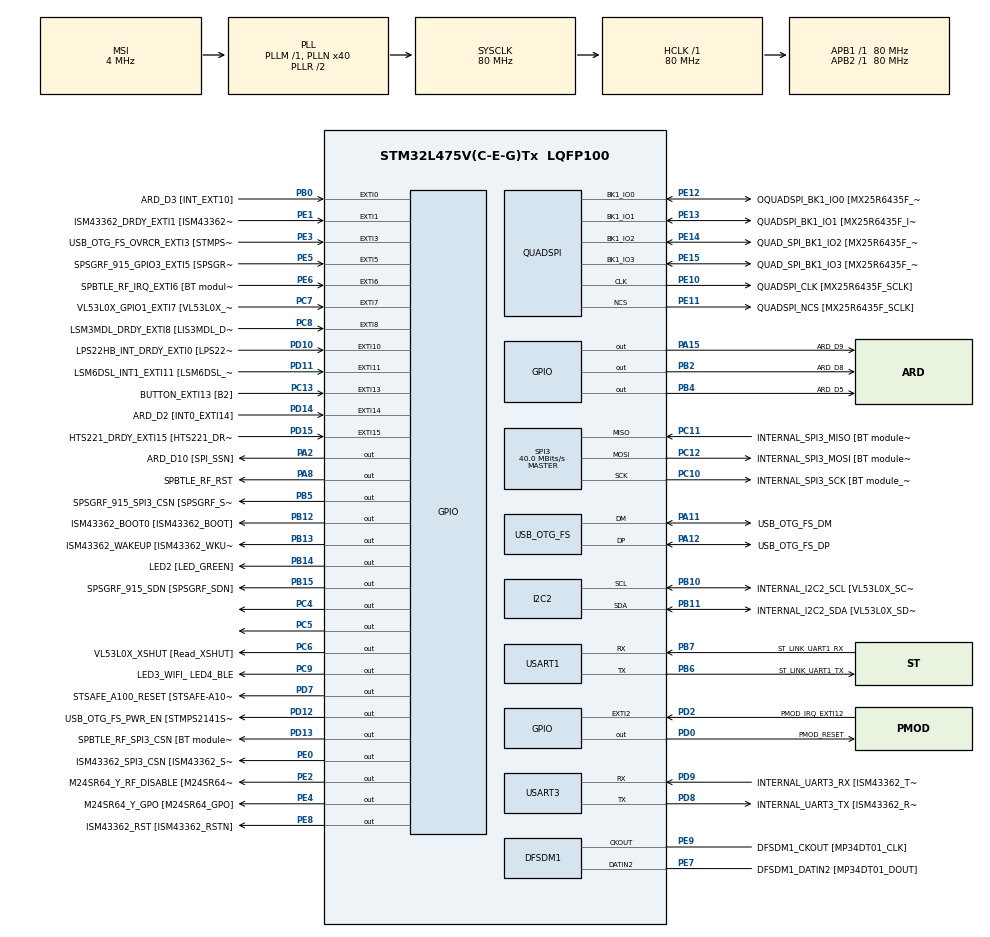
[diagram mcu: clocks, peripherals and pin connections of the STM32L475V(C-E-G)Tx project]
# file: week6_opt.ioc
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DFSDM1.Divider=40
DFSDM1.DmaMode_reg_FIL0=ENABLE
DFSDM1.FastMode_reg_FIL0=ENABLE
DFSDM1.Filter_regChannel_FIL0=DFSDM_CHANNEL_2
DFSDM1.Fosr_FIL0=250
DFSDM1.SincOrder_FIL0=DFSDM_FILTER_SINC3_ORDER
Dma.DFSDM1_FLT0.0.Direction=DMA_PERIPH_TO_MEMORY
Dma.DFSDM1_FLT0.0.Instance=DMA1_Channel4
Dma.DFSDM1_FLT0.0.MemDataAlignment=DMA_MDATAALIGN_WORD
Dma.DFSDM1_FLT0.0.MemInc=DMA_MINC_ENABLE
Dma.DFSDM1_FLT0.0.Mode=DMA_CIRCULAR
Dma.DFSDM1_FLT0.0.PeriphDataAlignment=DMA_PDATAALIGN_WORD
Dma.DFSDM1_FLT0.0.PeriphInc=DMA_PINC_DISABLE
Dma.DFSDM1_FLT0.0.Priority=DMA_PRIORITY_LOW
Dma.Request0=DFSDM1_FLT0
FREERTOS.Tasks01=defaultTask,24,128,StartDefaultTask,Default,NULL,Dynamic,NULL,NULL;myTask02,8,128,StartTask02,Default,NULL,Dynamic,NULL,NULL
FREERTOS.configLIBRARY_MAX_SYSCALL_INTERRUPT_PRIORITY=1
I2C2.Timing=0x10D19CE4
Mcu.Family=STM32L4
Mcu.Name=STM32L475V(C-E-G)Tx
Mcu.Package=LQFP100
NVIC.DMA1_Channel4_IRQn=true\:1\:0\:false\:false\:true\:true\:false\:true\:true
NVIC.EXTI15_10_IRQn=true\:1\:0\:false\:false\:true\:true\:true\:true\:true
NVIC.EXTI9_5_IRQn=true\:1\:0\:false\:false\:true\:true\:true\:true\:true
NVIC.PriorityGroup=NVIC_PRIORITYGROUP_4
PA0.GPIO_Label=ARD_D1 [UART4_TX]
PA0.Signal=UART4_TX
PA1.GPIO_Label=ARD_D0 [UART4_RX]
PA1.Signal=UART4_RX
PA10.GPIO_Label=USB_OTG_FS_ID
PA10.Signal=USB_OTG_FS_ID
PA11.GPIO_Label=USB_OTG_FS_DM
PA11.Mode=Device_Only
PA11.Signal=USB_OTG_FS_DM
PA12.GPIO_Label=USB_OTG_FS_DP
PA12.Mode=Device_Only
PA12.Signal=USB_OTG_FS_DP
PA13\ (JTMS-SWDIO).GPIO_Label=SYS_JTMS_SWDIO
PA13\ (JTMS-SWDIO).Mode=Serial_Wire
PA13\ (JTMS-SWDIO).Signal=SYS_JTMS-SWDIO
PA14\ (JTCK-SWCLK).GPIO_Label=SYS_JTCK_SWCLK
PA14\ (JTCK-SWCLK).Mode=Serial_Wire
PA14\ (JTCK-SWCLK).Signal=SYS_JTCK-SWCLK
PA15\ (JTDI).GPIO_Label=ARD_D9
PA15\ (JTDI).Signal=GPIO_Output
PA2.GPIO_Label=ARD_D10 [SPI_SSN]
PA2.Signal=GPIO_Output
PA3.GPIO_Label=ARD_D4
PA3.Signal=S_TIM2_CH4
PA4.GPIO_Label=ARD_D7
PA4.Signal=ADCx_IN9
PA5.GPIO_Label=ARD_D13 [SPI1_SCK]
PA5.Signal=SPI1_SCK
PA6.GPIO_Label=ARD_D12 [SPI1_MISO]
PA6.Signal=SPI1_MISO
PA7.GPIO_Label=ARD_D11 [SPI1_MOSI]
PA7.Signal=SPI1_MOSI
PA8.GPIO_Label=SPBTLE_RF_RST
PA8.Signal=GPIO_Output
PA9.GPIO_Label=USB_OTG_FS_VBUS [STMPS2141STR_OUT]
PA9.Signal=USB_OTG_FS_VBUS
PB0.GPIO_Label=ARD_D3 [INT_EXT10]
PB0.Signal=GPXTI0
PB1.GPIO_Label=ARD_D6 [ADC1_IN6]
PB1.Signal=ADCx_IN16
PB10.GPIO_Label=INTERNAL_I2C2_SCL [VL53L0X_SCL]
PB10.GPIO_Pu=GPIO_PULLUP
PB10.Mode=I2C
PB10.Signal=I2C2_SCL
PB11.GPIO_Label=INTERNAL_I2C2_SDA [VL53L0X_SDA]
PB11.GPIO_Pu=GPIO_PULLUP
PB11.Mode=I2C
PB11.Signal=I2C2_SDA
PB12.GPIO_Label=ISM43362_BOOT0 [ISM43362_BOOT]
PB12.Signal=GPIO_Output
PB13.GPIO_Label=ISM43362_WAKEUP [ISM43362_WKUP]
PB13.Signal=GPIO_Output
PB14.GPIO_Label=LED2 [LED_GREEN]
PB14.Signal=GPIO_Output
PB15.GPIO_Label=SPSGRF_915_SDN [SPSGRF_SDN]
PB15.Signal=GPIO_Output
PB2.GPIO_Label=ARD_D8
PB2.Signal=GPIO_Output
PB3\ (JTDO-TRACESWO).GPIO_Label=SYS_JTD0_SWO
PB3\ (JTDO-TRACESWO).Signal=SYS_JTDO-SWO
PB4\ (NJTRST).GPIO_Label=ARD_D5
PB4\ (NJTRST).Signal=GPIO_Output
PB5.GPIO_Label=SPSGRF_915_SPI3_CSN [SPSGRF_SPI_CS]
PB5.PinState=GPIO_PIN_SET
PB5.Signal=GPIO_Output
PB6.GPIO_Label=ST_LINK_UART1_TX
PB6.Mode=Asynchronous
PB6.Signal=USART1_TX
PB7.GPIO_Label=ST_LINK_UART1_RX
PB7.Mode=Asynchronous
PB7.Signal=USART1_RX
PB8.GPIO_Label=ARD_D15 [I2C1_SCL]
PB8.Signal=I2C1_SCL
PB9.GPIO_Label=ARD_D14 [I2C1_SDA]
PB9.Signal=I2C1_SDA
PC0.GPIO_Label=ARD_A5 [ADC]
PC0.Signal=ADCx_IN1
PC1.GPIO_Label=ARD_A4 [ADC]
PC1.Signal=ADCx_IN2
PC10.GPIO_Label=INTERNAL_SPI3_SCK [BT module_SPI_SCLK] [ISM43362_SCK]
PC10.Mode=Full_Duplex_Master
PC10.Signal=SPI3_SCK
PC11.GPIO_Label=INTERNAL_SPI3_MISO [BT module_SPI_MISO] [ISM43362_MISO]
PC11.Mode=Full_Duplex_Master
PC11.Signal=SPI3_MISO
PC12.GPIO_Label=INTERNAL_SPI3_MOSI [BT module_SPI_MOSI] [ISM43362_MOSI]
PC12.Mode=Full_Duplex_Master
PC12.Signal=SPI3_MOSI
PC13.GPIO_Label=BUTTON_EXTI13 [B2]
PC13.GPIO_ModeDefaultEXTI=GPIO_MODE_IT_FALLING
PC13.Signal=GPXTI13
PC14-OSC32_IN\ (PC14).Mode=LSE-External-Oscillator
PC14-OSC32_IN\ (PC14).Signal=RCC_OSC32_IN
PC15-OSC32_OUT\ (PC15).Mode=LSE-External-Oscillator
PC15-OSC32_OUT\ (PC15).Signal=RCC_OSC32_OUT
PC2.GPIO_Label=ARD_A3 [ADC]
PC2.Signal=ADCx_IN3
PC3.GPIO_Label=ARD_A2 [ADC]
PC3.Signal=ADCx_IN4
PC4.Signal=GPIO_Output
PC5.Signal=GPIO_Output
PC6.GPIO_Label=VL53L0X_XSHUT [Read_XSHUT]
PC6.Signal=GPIO_Output
PC7.GPIO_Label=VL53L0X_GPIO1_EXTI7 [VL53L0X_GPIO1]
PC7.Signal=GPXTI7
PC8.GPIO_Label=LSM3MDL_DRDY_EXTI8 [LIS3MDL_DRDY]
PC8.Signal=GPXTI8
PC9.GPIO_Label=LED3_WIFI_ LED4_BLE
PC9.Signal=GPIO_Output
PD0.GPIO_Label=PMOD_RESET
PD0.Signal=GPIO_Output
PD1.GPIO_Label=PMOD_SPI2_SCK
PD1.Signal=SPI2_SCK
PD10.GPIO_Label=LPS22HB_INT_DRDY_EXTI0 [LPS22HB_INT_DRDY] 
PD10.Signal=GPXTI10
PD11.GPIO_Label=LSM6DSL_INT1_EXTI11 [LSM6DSL_INT1]
PD11.Signal=GPXTI11
PD12.GPIO_Label=USB_OTG_FS_PWR_EN [STMPS2141STR_EN]
PD12.Signal=GPIO_Output
PD13.GPIO_Label=SPBTLE_RF_SPI3_CSN [BT module_SPI_CS]
PD13.PinState=GPIO_PIN_SET
PD13.Signal=GPIO_Output
PD14.GPIO_Label=ARD_D2 [INT0_EXTI14]
PD14.Signal=GPXTI14
PD15.GPIO_Label=HTS221_DRDY_EXTI15 [HTS221_DRDY]
PD15.Signal=GPXTI15
PD2.GPIO_Label=PMOD_IRQ_EXTI12
PD2.Signal=GPXTI2
PD3.GPIO_Label=PMOD_UART2_CTS
PD3.Signal=USART2_CTS
PD4.GPIO_Label=PMOD_UART2_RTS
PD4.Signal=USART2_RTS
PD5.GPIO_Label=PMOD_UART2_TX
PD5.Signal=USART2_TX
PD6.GPIO_Label=PMOD_UART2_RX
PD6.Signal=USART2_RX
PD7.GPIO_Label=STSAFE_A100_RESET [STSAFE-A100_RESET]
PD7.Signal=GPIO_Output
PD8.GPIO_Label=INTERNAL_UART3_TX [ISM43362_RX]
PD8.Mode=Asynchronous
PD8.Signal=USART3_TX
PD9.GPIO_Label=INTERNAL_UART3_RX [ISM43362_TX]
PD9.Mode=Asynchronous
PD9.Signal=USART3_RX
PE0.GPIO_Label=ISM43362_SPI3_CSN [ISM43362_SSN]
PE0.PinState=GPIO_PIN_SET
PE0.Signal=GPIO_Output
PE1.GPIO_Label=ISM43362_DRDY_EXTI1 [ISM43362_DATARDY]
PE1.Signal=GPXTI1
PE10.GPIO_Label=QUADSPI_CLK [MX25R6435F_SCLK]
PE10.Mode=Single Bank
PE10.Signal=QUADSPI_CLK
PE11.GPIO_Label=QUADSPI_NCS [MX25R6435F_SCLK]
PE11.Mode=Single Bank
PE11.Signal=QUADSPI_NCS
PE12.GPIO_Label=OQUADSPI_BK1_IO0 [MX25R6435F_IO0]
PE12.Mode=Single Bank
PE12.Signal=QUADSPI_BK1_IO0
PE13.GPIO_Label=QUADSPI_BK1_IO1 [MX25R6435F_IO1]
PE13.Mode=Single Bank
PE13.Signal=QUADSPI_BK1_IO1
PE14.GPIO_Label=QUAD_SPI_BK1_IO2 [MX25R6435F_IO2]
PE14.Mode=Single Bank
PE14.Signal=QUADSPI_BK1_IO2
PE15.GPIO_Label=QUAD_SPI_BK1_IO3 [MX25R6435F_IO3]
PE15.Mode=Single Bank
PE15.Signal=QUADSPI_BK1_IO3
PE2.GPIO_Label=M24SR64_Y_RF_DISABLE [M24SR64_RFDIS]
PE2.Signal=GPIO_Output
PE3.GPIO_Label=USB_OTG_FS_OVRCR_EXTI3 [STMPS2141STR_FAULT]
PE3.Signal=GPXTI3
PE4.GPIO_Label=M24SR64_Y_GPO [M24SR64_GPO]
PE4.Signal=GPIO_Output
PE5.GPIO_Label=SPSGRF_915_GPIO3_EXTI5 [SPSGRF_GPIO_3]
PE5.Signal=GPXTI5
PE6.GPIO_Label=SPBTLE_RF_IRQ_EXTI6 [BT module_SPI_IRQ]
PE6.Signal=GPXTI6
PE7.GPIO_Label=DFSDM1_DATIN2 [MP34DT01_DOUT]
PE7.Signal=S_DATAIN2DFSDM1
PE8.GPIO_Label=ISM43362_RST [ISM43362_RSTN]
PE8.Signal=GPIO_Output
PE9.GPIO_Label=DFSDM1_CKOUT [MP34DT01_CLK]
PE9.Signal=S_CKOUTDFSDM1
ProjectManager.HeapSize=0x200
ProjectManager.StackSize=0x400
ProjectManager.TargetToolchain=STM32CubeIDE
QUADSPI.ClockPrescaler=2
QUADSPI.FifoThreshold=4
QUADSPI.FlashSize=23
QUADSPI.SampleShifting=QSPI_SAMPLE_SHIFTING_HALFCYCLE
RCC.ADCFreq_Value=48000000
RCC.AHBFreq_Value=80000000
RCC.APB1Freq_Value=80000000
RCC.APB1TimFreq_Value=80000000
RCC.APB2Freq_Value=80000000
RCC.APB2TimFreq_Value=80000000
RCC.CortexFreq_Value=80000000
RCC.HCLKFreq_Value=80000000
RCC.HSE_VALUE=8000000
RCC.HSI_VALUE=16000000
RCC.MSI_VALUE=4000000
RCC.PLLN=40
RCC.PLLSAI1N=24
RCC.SYSCLKFreq_VALUE=80000000
RCC.SYSCLKSource=RCC_SYSCLKSOURCE_PLLCLK
RCC.USBFreq_Value=48000000
RCC.VCOOutputFreq_Value=160000000
SH.ADCx_IN1.0=ADC1_IN1
SH.ADCx_IN16.0=ADC1_IN16
SH.ADCx_IN2.0=ADC1_IN2
SH.ADCx_IN3.0=ADC1_IN3
SH.ADCx_IN4.0=ADC1_IN4
SH.ADCx_IN9.0=ADC1_IN9
SH.S_CKOUTDFSDM1.0=DFSDM1_CKOUT,CKOUT
SH.S_CKOUTDFSDM1.1=DFSDM1_CKOUT,PDM_SPI_Input_from_ch12_and_Internal_Clock
SH.S_CKOUTDFSDM1.2=DFSDM1_CKOUT,PDM_SPI_input_from_ch2_and_internal_clock
SH.S_DATAIN2DFSDM1.0=DFSDM1_DATIN2,PDM_SPI_Input_from_ch12_and_Internal_Clock
SH.S_DATAIN2DFSDM1.1=DFSDM1_DATIN2,PDM_SPI_input_from_ch2_and_internal_clock
SH.S_TIM2_CH4.0=TIM2_CH4
SPI3.CalculateBaudRate=40.0 MBits/s
SPI3.Direction=SPI_DIRECTION_2LINES
SPI3.Mode=SPI_MODE_MASTER
SPI3.VirtualType=VM_MASTER
USART1.VirtualMode-Asynchronous=VM_ASYNC
USART3.VirtualMode-Asynchronous=VM_ASYNC
USB_OTG_FS.VirtualMode=Device_Only
VP_FREERTOS_VS_CMSIS_V2.Mode=CMSIS_V2
board=B-L475E-IOT01A2

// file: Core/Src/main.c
/* USER CODE BEGIN Header */
/**
  ******************************************************************************
  * @file           : main.c
  * @brief          : Main program body
  ******************************************************************************
  * @attention
  *
  * Copyright (c) 2025 STMicroelectronics.
  * All rights reserved.
  *
  * This software is licensed under terms that can be found in the LICENSE file
  * in the root directory of this software component.
  * If no LICENSE file comes with this software, it is provided AS-IS.
  *
  ******************************************************************************
  */
/* USER CODE END Header */
#include "main.h"
#include "cmsis_os.h"

DFSDM_Filter_HandleTypeDef hdfsdm1_filter0;
DFSDM_Channel_HandleTypeDef hdfsdm1_channel1;
DFSDM_Channel_HandleTypeDef hdfsdm1_channel2;
DMA_HandleTypeDef hdma_dfsdm1_flt0;

I2C_HandleTypeDef hi2c2;

QSPI_HandleTypeDef hqspi;

SPI_HandleTypeDef hspi3;

UART_HandleTypeDef huart1;
UART_HandleTypeDef huart3;

PCD_HandleTypeDef hpcd_USB_OTG_FS;

/* Definitions for defaultTask */
osThreadId_t defaultTaskHandle;
const osThreadAttr_t defaultTask_attributes = {
  .name = "defaultTask",
  .stack_size = 128 * 4,
  .priority = (osPriority_t) osPriorityNormal,
};
/* Definitions for myTask02 */
osThreadId_t myTask02Handle;
const osThreadAttr_t myTask02_attributes = {
  .name = "myTask02",
  .stack_size = 128 * 4,
  .priority = (osPriority_t) osPriorityLow,
};
/* USER CODE BEGIN PV */
#define AUDIO_REC 1024
int32_t RecBuf[AUDIO_REC];
int32_t PlayBuf[AUDIO_REC];

uint8_t DmaRecHalfBuffCplt = 0;
uint8_t DmaRecBuffCplt = 0;

/* USER CODE END PV */

void SystemClock_Config(void);
static void MX_GPIO_Init(void);
static void MX_DMA_Init(void);
static void MX_DFSDM1_Init(void);
static void MX_I2C2_Init(void);
static void MX_QUADSPI_Init(void);
static void MX_SPI3_Init(void);
static void MX_USART1_UART_Init(void);
static void MX_USART3_UART_Init(void);
static void MX_USB_OTG_FS_PCD_Init(void);
void StartDefaultTask(void *argument);
void StartTask02(void *argument);

int main(void)
{

  /* MCU Configuration--------------------------------------------------------*/

  /* Reset of all peripherals, Initializes the Flash interface and the Systick. */
  HAL_Init();

  /* Configure the system clock */
  SystemClock_Config();

  /* Initialize all configured peripherals */
  MX_GPIO_Init();
  MX_DMA_Init();
  MX_DFSDM1_Init();
  MX_I2C2_Init();
  MX_QUADSPI_Init();
  MX_SPI3_Init();
  MX_USART1_UART_Init();
  MX_USART3_UART_Init();
  MX_USB_OTG_FS_PCD_Init();
  /* USER CODE BEGIN 2 */

  HAL_DFSDM_FilterRegularStart_DMA(&hdfsdm1_filter0, RecBuf, AUDIO_REC);

  /* USER CODE END 2 */

  /* Init scheduler */
  osKernelInitialize();

  /* Create the thread(s) */
  /* creation of defaultTask */
  defaultTaskHandle = osThreadNew(StartDefaultTask, NULL, &defaultTask_attributes);

  /* creation of myTask02 */
  myTask02Handle = osThreadNew(StartTask02, NULL, &myTask02_attributes);

  /* Start scheduler */
  osKernelStart();

  /* We should never get here as control is now taken by the scheduler */

  /* Infinite loop */
  while (1)
  {

  }
}

void SystemClock_Config(void)
{
  RCC_OscInitTypeDef RCC_OscInitStruct = {0};
  RCC_ClkInitTypeDef RCC_ClkInitStruct = {0};

  /** Configure the main internal regulator output voltage
  */
  if (HAL_PWREx_ControlVoltageScaling(PWR_REGULATOR_VOLTAGE_SCALE1) != HAL_OK)
  {
    Error_Handler();
  }

  /** Configure LSE Drive Capability
  */
  HAL_PWR_EnableBkUpAccess();
  __HAL_RCC_LSEDRIVE_CONFIG(RCC_LSEDRIVE_LOW);

  /** Initializes the RCC Oscillators according to the specified parameters
  * in the RCC_OscInitTypeDef structure.
  */
  RCC_OscInitStruct.OscillatorType = RCC_OSCILLATORTYPE_LSE|RCC_OSCILLATORTYPE_MSI;
  RCC_OscInitStruct.LSEState = RCC_LSE_ON;
  RCC_OscInitStruct.MSIState = RCC_MSI_ON;
  RCC_OscInitStruct.MSICalibrationValue = 0;
  RCC_OscInitStruct.MSIClockRange = RCC_MSIRANGE_6;
  RCC_OscInitStruct.PLL.PLLState = RCC_PLL_ON;
  RCC_OscInitStruct.PLL.PLLSource = RCC_PLLSOURCE_MSI;
  RCC_OscInitStruct.PLL.PLLM = 1;
  RCC_OscInitStruct.PLL.PLLN = 40;
  RCC_OscInitStruct.PLL.PLLP = RCC_PLLP_DIV7;
  RCC_OscInitStruct.PLL.PLLQ = RCC_PLLQ_DIV2;
  RCC_OscInitStruct.PLL.PLLR = RCC_PLLR_DIV2;
  if (HAL_RCC_OscConfig(&RCC_OscInitStruct) != HAL_OK)
  {
    Error_Handler();
  }

  /** Initializes the CPU, AHB and APB buses clocks
  */
  RCC_ClkInitStruct.ClockType = RCC_CLOCKTYPE_HCLK|RCC_CLOCKTYPE_SYSCLK
                              |RCC_CLOCKTYPE_PCLK1|RCC_CLOCKTYPE_PCLK2;
  RCC_ClkInitStruct.SYSCLKSource = RCC_SYSCLKSOURCE_PLLCLK;
  RCC_ClkInitStruct.AHBCLKDivider = RCC_SYSCLK_DIV1;
  RCC_ClkInitStruct.APB1CLKDivider = RCC_HCLK_DIV1;
  RCC_ClkInitStruct.APB2CLKDivider = RCC_HCLK_DIV1;

  if (HAL_RCC_ClockConfig(&RCC_ClkInitStruct, FLASH_LATENCY_4) != HAL_OK)
  {
    Error_Handler();
  }

  /** Enable MSI Auto calibration
  */
  HAL_RCCEx_EnableMSIPLLMode();
}

static void MX_DFSDM1_Init(void)
{

  hdfsdm1_filter0.Instance = DFSDM1_Filter0;
  hdfsdm1_filter0.Init.RegularParam.Trigger = DFSDM_FILTER_SW_TRIGGER;
  hdfsdm1_filter0.Init.RegularParam.FastMode = ENABLE;
  hdfsdm1_filter0.Init.RegularParam.DmaMode = ENABLE;
  hdfsdm1_filter0.Init.FilterParam.SincOrder = DFSDM_FILTER_SINC3_ORDER;
  hdfsdm1_filter0.Init.FilterParam.Oversampling = 250;
  hdfsdm1_filter0.Init.FilterParam.IntOversampling = 1;
  if (HAL_DFSDM_FilterInit(&hdfsdm1_filter0) != HAL_OK)
  {
    Error_Handler();
  }
  hdfsdm1_channel1.Instance = DFSDM1_Channel1;
  hdfsdm1_channel1.Init.OutputClock.Activation = ENABLE;
  hdfsdm1_channel1.Init.OutputClock.Selection = DFSDM_CHANNEL_OUTPUT_CLOCK_SYSTEM;
  hdfsdm1_channel1.Init.OutputClock.Divider = 40;
  hdfsdm1_channel1.Init.Input.Multiplexer = DFSDM_CHANNEL_EXTERNAL_INPUTS;
  hdfsdm1_channel1.Init.Input.DataPacking = DFSDM_CHANNEL_STANDARD_MODE;
  hdfsdm1_channel1.Init.Input.Pins = DFSDM_CHANNEL_FOLLOWING_CHANNEL_PINS;
  hdfsdm1_channel1.Init.SerialInterface.Type = DFSDM_CHANNEL_SPI_RISING;
  hdfsdm1_channel1.Init.SerialInterface.SpiClock = DFSDM_CHANNEL_SPI_CLOCK_INTERNAL;
  hdfsdm1_channel1.Init.Awd.FilterOrder = DFSDM_CHANNEL_FASTSINC_ORDER;
  hdfsdm1_channel1.Init.Awd.Oversampling = 1;
  hdfsdm1_channel1.Init.Offset = 0;
  hdfsdm1_channel1.Init.RightBitShift = 0x00;
  if (HAL_DFSDM_ChannelInit(&hdfsdm1_channel1) != HAL_OK)
  {
    Error_Handler();
  }
  hdfsdm1_channel2.Instance = DFSDM1_Channel2;
  hdfsdm1_channel2.Init.OutputClock.Activation = ENABLE;
  hdfsdm1_channel2.Init.OutputClock.Selection = DFSDM_CHANNEL_OUTPUT_CLOCK_SYSTEM;
  hdfsdm1_channel2.Init.OutputClock.Divider = 40;
  hdfsdm1_channel2.Init.Input.Multiplexer = DFSDM_CHANNEL_EXTERNAL_INPUTS;
  hdfsdm1_channel2.Init.Input.DataPacking = DFSDM_CHANNEL_STANDARD_MODE;
  hdfsdm1_channel2.Init.Input.Pins = DFSDM_CHANNEL_SAME_CHANNEL_PINS;
  hdfsdm1_channel2.Init.SerialInterface.Type = DFSDM_CHANNEL_SPI_RISING;
  hdfsdm1_channel2.Init.SerialInterface.SpiClock = DFSDM_CHANNEL_SPI_CLOCK_INTERNAL;
  hdfsdm1_channel2.Init.Awd.FilterOrder = DFSDM_CHANNEL_FASTSINC_ORDER;
  hdfsdm1_channel2.Init.Awd.Oversampling = 1;
  hdfsdm1_channel2.Init.Offset = 0;
  hdfsdm1_channel2.Init.RightBitShift = 0x00;
  if (HAL_DFSDM_ChannelInit(&hdfsdm1_channel2) != HAL_OK)
  {
    Error_Handler();
  }
  if (HAL_DFSDM_FilterConfigRegChannel(&hdfsdm1_filter0, DFSDM_CHANNEL_2, DFSDM_CONTINUOUS_CONV_ON) != HAL_OK)
  {
    Error_Handler();
  }

}

static void MX_I2C2_Init(void)
{

  hi2c2.Instance = I2C2;
  hi2c2.Init.Timing = 0x10D19CE4;
  hi2c2.Init.OwnAddress1 = 0;
  hi2c2.Init.AddressingMode = I2C_ADDRESSINGMODE_7BIT;
  hi2c2.Init.DualAddressMode = I2C_DUALADDRESS_DISABLE;
  hi2c2.Init.OwnAddress2 = 0;
  hi2c2.Init.OwnAddress2Masks = I2C_OA2_NOMASK;
  hi2c2.Init.GeneralCallMode = I2C_GENERALCALL_DISABLE;
  hi2c2.Init.NoStretchMode = I2C_NOSTRETCH_DISABLE;
  if (HAL_I2C_Init(&hi2c2) != HAL_OK)
  {
    Error_Handler();
  }

  /** Configure Analogue filter
  */
  if (HAL_I2CEx_ConfigAnalogFilter(&hi2c2, I2C_ANALOGFILTER_ENABLE) != HAL_OK)
  {
    Error_Handler();
  }

  /** Configure Digital filter
  */
  if (HAL_I2CEx_ConfigDigitalFilter(&hi2c2, 0) != HAL_OK)
  {
    Error_Handler();
  }

}

static void MX_QUADSPI_Init(void)
{

  /* QUADSPI parameter configuration*/
  hqspi.Instance = QUADSPI;
  hqspi.Init.ClockPrescaler = 2;
  hqspi.Init.FifoThreshold = 4;
  hqspi.Init.SampleShifting = QSPI_SAMPLE_SHIFTING_HALFCYCLE;
  hqspi.Init.FlashSize = 23;
  hqspi.Init.ChipSelectHighTime = QSPI_CS_HIGH_TIME_1_CYCLE;
  hqspi.Init.ClockMode = QSPI_CLOCK_MODE_0;
  if (HAL_QSPI_Init(&hqspi) != HAL_OK)
  {
    Error_Handler();
  }

}

static void MX_SPI3_Init(void)
{

  /* SPI3 parameter configuration*/
  hspi3.Instance = SPI3;
  hspi3.Init.Mode = SPI_MODE_MASTER;
  hspi3.Init.Direction = SPI_DIRECTION_2LINES;
  hspi3.Init.DataSize = SPI_DATASIZE_4BIT;
  hspi3.Init.CLKPolarity = SPI_POLARITY_LOW;
  hspi3.Init.CLKPhase = SPI_PHASE_1EDGE;
  hspi3.Init.NSS = SPI_NSS_SOFT;
  hspi3.Init.BaudRatePrescaler = SPI_BAUDRATEPRESCALER_2;
  hspi3.Init.FirstBit = SPI_FIRSTBIT_MSB;
  hspi3.Init.TIMode = SPI_TIMODE_DISABLE;
  hspi3.Init.CRCCalculation = SPI_CRCCALCULATION_DISABLE;
  hspi3.Init.CRCPolynomial = 7;
  hspi3.Init.CRCLength = SPI_CRC_LENGTH_DATASIZE;
  hspi3.Init.NSSPMode = SPI_NSS_PULSE_ENABLE;
  if (HAL_SPI_Init(&hspi3) != HAL_OK)
  {
    Error_Handler();
  }

}

static void MX_USART1_UART_Init(void)
{

  huart1.Instance = USART1;
  huart1.Init.BaudRate = 115200;
  huart1.Init.WordLength = UART_WORDLENGTH_8B;
  huart1.Init.StopBits = UART_STOPBITS_1;
  huart1.Init.Parity = UART_PARITY_NONE;
  huart1.Init.Mode = UART_MODE_TX_RX;
  huart1.Init.HwFlowCtl = UART_HWCONTROL_NONE;
  huart1.Init.OverSampling = UART_OVERSAMPLING_16;
  huart1.Init.OneBitSampling = UART_ONE_BIT_SAMPLE_DISABLE;
  huart1.AdvancedInit.AdvFeatureInit = UART_ADVFEATURE_NO_INIT;
  if (HAL_UART_Init(&huart1) != HAL_OK)
  {
    Error_Handler();
  }

}

static void MX_USART3_UART_Init(void)
{

  huart3.Instance = USART3;
  huart3.Init.BaudRate = 115200;
  huart3.Init.WordLength = UART_WORDLENGTH_8B;
  huart3.Init.StopBits = UART_STOPBITS_1;
  huart3.Init.Parity = UART_PARITY_NONE;
  huart3.Init.Mode = UART_MODE_TX_RX;
  huart3.Init.HwFlowCtl = UART_HWCONTROL_NONE;
  huart3.Init.OverSampling = UART_OVERSAMPLING_16;
  huart3.Init.OneBitSampling = UART_ONE_BIT_SAMPLE_DISABLE;
  huart3.AdvancedInit.AdvFeatureInit = UART_ADVFEATURE_NO_INIT;
  if (HAL_UART_Init(&huart3) != HAL_OK)
  {
    Error_Handler();
  }

}

static void MX_USB_OTG_FS_PCD_Init(void)
{

  hpcd_USB_OTG_FS.Instance = USB_OTG_FS;
  hpcd_USB_OTG_FS.Init.dev_endpoints = 6;
  hpcd_USB_OTG_FS.Init.speed = PCD_SPEED_FULL;
  hpcd_USB_OTG_FS.Init.phy_itface = PCD_PHY_EMBEDDED;
  hpcd_USB_OTG_FS.Init.Sof_enable = DISABLE;
  hpcd_USB_OTG_FS.Init.low_power_enable = DISABLE;
  hpcd_USB_OTG_FS.Init.lpm_enable = DISABLE;
  hpcd_USB_OTG_FS.Init.battery_charging_enable = DISABLE;
  hpcd_USB_OTG_FS.Init.use_dedicated_ep1 = DISABLE;
  hpcd_USB_OTG_FS.Init.vbus_sensing_enable = DISABLE;
  if (HAL_PCD_Init(&hpcd_USB_OTG_FS) != HAL_OK)
  {
    Error_Handler();
  }

}

static void MX_DMA_Init(void)
{

  /* DMA controller clock enable */
  __HAL_RCC_DMA1_CLK_ENABLE();

  /* DMA interrupt init */
  /* DMA1_Channel4_IRQn interrupt configuration */
  HAL_NVIC_SetPriority(DMA1_Channel4_IRQn, 1, 0);
  HAL_NVIC_EnableIRQ(DMA1_Channel4_IRQn);

}

static void MX_GPIO_Init(void)
{
  GPIO_InitTypeDef GPIO_InitStruct = {0};

  /* GPIO Ports Clock Enable */
  __HAL_RCC_GPIOE_CLK_ENABLE();
  __HAL_RCC_GPIOC_CLK_ENABLE();
  __HAL_RCC_GPIOA_CLK_ENABLE();
  __HAL_RCC_GPIOB_CLK_ENABLE();
  __HAL_RCC_GPIOD_CLK_ENABLE();

  /*Configure GPIO pin Output Level */
  HAL_GPIO_WritePin(GPIOE, M24SR64_Y_RF_DISABLE_Pin|M24SR64_Y_GPO_Pin|ISM43362_RST_Pin, GPIO_PIN_RESET);

  /*Configure GPIO pin Output Level */
  HAL_GPIO_WritePin(GPIOA, ARD_D10_Pin|SPBTLE_RF_RST_Pin|ARD_D9_Pin, GPIO_PIN_RESET);

  /*Configure GPIO pin Output Level */
  HAL_GPIO_WritePin(GPIOC, GPIO_PIN_4|GPIO_PIN_5|VL53L0X_XSHUT_Pin|LED3_WIFI__LED4_BLE_Pin, GPIO_PIN_RESET);

  /*Configure GPIO pin Output Level */
  HAL_GPIO_WritePin(GPIOB, ARD_D8_Pin|ISM43362_BOOT0_Pin|ISM43362_WAKEUP_Pin|LED2_Pin
                          |SPSGRF_915_SDN_Pin|ARD_D5_Pin, GPIO_PIN_RESET);

  /*Configure GPIO pin Output Level */
  HAL_GPIO_WritePin(GPIOD, USB_OTG_FS_PWR_EN_Pin|PMOD_RESET_Pin|STSAFE_A100_RESET_Pin, GPIO_PIN_RESET);

  /*Configure GPIO pin Output Level */
  HAL_GPIO_WritePin(SPBTLE_RF_SPI3_CSN_GPIO_Port, SPBTLE_RF_SPI3_CSN_Pin, GPIO_PIN_SET);

  /*Configure GPIO pin Output Level */
  HAL_GPIO_WritePin(SPSGRF_915_SPI3_CSN_GPIO_Port, SPSGRF_915_SPI3_CSN_Pin, GPIO_PIN_SET);

  /*Configure GPIO pin Output Level */
  HAL_GPIO_WritePin(ISM43362_SPI3_CSN_GPIO_Port, ISM43362_SPI3_CSN_Pin, GPIO_PIN_SET);

  /*Configure GPIO pins : M24SR64_Y_RF_DISABLE_Pin M24SR64_Y_GPO_Pin ISM43362_RST_Pin ISM43362_SPI3_CSN_Pin */
  GPIO_InitStruct.Pin = M24SR64_Y_RF_DISABLE_Pin|M24SR64_Y_GPO_Pin|ISM43362_RST_Pin|ISM43362_SPI3_CSN_Pin;
  GPIO_InitStruct.Mode = GPIO_MODE_OUTPUT_PP;
  GPIO_InitStruct.Pull = GPIO_NOPULL;
  GPIO_InitStruct.Speed = GPIO_SPEED_FREQ_LOW;
  HAL_GPIO_Init(GPIOE, &GPIO_InitStruct);

  /*Configure GPIO pins : USB_OTG_FS_OVRCR_EXTI3_Pin SPSGRF_915_GPIO3_EXTI5_Pin SPBTLE_RF_IRQ_EXTI6_Pin ISM43362_DRDY_EXTI1_Pin */
  GPIO_InitStruct.Pin = USB_OTG_FS_OVRCR_EXTI3_Pin|SPSGRF_915_GPIO3_EXTI5_Pin|SPBTLE_RF_IRQ_EXTI6_Pin|ISM43362_DRDY_EXTI1_Pin;
  GPIO_InitStruct.Mode = GPIO_MODE_IT_RISING;
  GPIO_InitStruct.Pull = GPIO_NOPULL;
  HAL_GPIO_Init(GPIOE, &GPIO_InitStruct);

  /*Configure GPIO pin : BUTTON_EXTI13_Pin */
  GPIO_InitStruct.Pin = BUTTON_EXTI13_Pin;
  GPIO_InitStruct.Mode = GPIO_MODE_IT_FALLING;
  GPIO_InitStruct.Pull = GPIO_NOPULL;
  HAL_GPIO_Init(BUTTON_EXTI13_GPIO_Port, &GPIO_InitStruct);

  /*Configure GPIO pins : ARD_A5_Pin ARD_A4_Pin ARD_A3_Pin ARD_A2_Pin */
  GPIO_InitStruct.Pin = ARD_A5_Pin|ARD_A4_Pin|ARD_A3_Pin|ARD_A2_Pin;
  GPIO_InitStruct.Mode = GPIO_MODE_ANALOG_ADC_CONTROL;
  GPIO_InitStruct.Pull = GPIO_NOPULL;
  HAL_GPIO_Init(GPIOC, &GPIO_InitStruct);

  /*Configure GPIO pins : ARD_D1_Pin ARD_D0_Pin */
  GPIO_InitStruct.Pin = ARD_D1_Pin|ARD_D0_Pin;
  GPIO_InitStruct.Mode = GPIO_MODE_AF_PP;
  GPIO_InitStruct.Pull = GPIO_NOPULL;
  GPIO_InitStruct.Speed = GPIO_SPEED_FREQ_VERY_HIGH;
  GPIO_InitStruct.Alternate = GPIO_AF8_UART4;
  HAL_GPIO_Init(GPIOA, &GPIO_InitStruct);

  /*Configure GPIO pins : ARD_D10_Pin SPBTLE_RF_RST_Pin ARD_D9_Pin */
  GPIO_InitStruct.Pin = ARD_D10_Pin|SPBTLE_RF_RST_Pin|ARD_D9_Pin;
  GPIO_InitStruct.Mode = GPIO_MODE_OUTPUT_PP;
  GPIO_InitStruct.Pull = GPIO_NOPULL;
  GPIO_InitStruct.Speed = GPIO_SPEED_FREQ_LOW;
  HAL_GPIO_Init(GPIOA, &GPIO_InitStruct);

  /*Configure GPIO pin : ARD_D4_Pin */
  GPIO_InitStruct.Pin = ARD_D4_Pin;
  GPIO_InitStruct.Mode = GPIO_MODE_AF_PP;
  GPIO_InitStruct.Pull = GPIO_NOPULL;
  GPIO_InitStruct.Speed = GPIO_SPEED_FREQ_LOW;
  GPIO_InitStruct.Alternate = GPIO_AF1_TIM2;
  HAL_GPIO_Init(ARD_D4_GPIO_Port, &GPIO_InitStruct);

  /*Configure GPIO pin : ARD_D7_Pin */
  GPIO_InitStruct.Pin = ARD_D7_Pin;
  GPIO_InitStruct.Mode = GPIO_MODE_ANALOG_ADC_CONTROL;
  GPIO_InitStruct.Pull = GPIO_NOPULL;
  HAL_GPIO_Init(ARD_D7_GPIO_Port, &GPIO_InitStruct);

  /*Configure GPIO pins : ARD_D13_Pin ARD_D12_Pin ARD_D11_Pin */
  GPIO_InitStruct.Pin = ARD_D13_Pin|ARD_D12_Pin|ARD_D11_Pin;
  GPIO_InitStruct.Mode = GPIO_MODE_AF_PP;
  GPIO_InitStruct.Pull = GPIO_NOPULL;
  GPIO_InitStruct.Speed = GPIO_SPEED_FREQ_VERY_HIGH;
  GPIO_InitStruct.Alternate = GPIO_AF5_SPI1;
  HAL_GPIO_Init(GPIOA, &GPIO_InitStruct);

  /*Configure GPIO pins : PC4 PC5 VL53L0X_XSHUT_Pin LED3_WIFI__LED4_BLE_Pin */
  GPIO_InitStruct.Pin = GPIO_PIN_4|GPIO_PIN_5|VL53L0X_XSHUT_Pin|LED3_WIFI__LED4_BLE_Pin;
  GPIO_InitStruct.Mode = GPIO_MODE_OUTPUT_PP;
  GPIO_InitStruct.Pull = GPIO_NOPULL;
  GPIO_InitStruct.Speed = GPIO_SPEED_FREQ_LOW;
  HAL_GPIO_Init(GPIOC, &GPIO_InitStruct);

  /*Configure GPIO pin : ARD_D3_Pin */
  GPIO_InitStruct.Pin = ARD_D3_Pin;
  GPIO_InitStruct.Mode = GPIO_MODE_IT_RISING;
  GPIO_InitStruct.Pull = GPIO_NOPULL;
  HAL_GPIO_Init(ARD_D3_GPIO_Port, &GPIO_InitStruct);

  /*Configure GPIO pin : ARD_D6_Pin */
  GPIO_InitStruct.Pin = ARD_D6_Pin;
  GPIO_InitStruct.Mode = GPIO_MODE_ANALOG_ADC_CONTROL;
  GPIO_InitStruct.Pull = GPIO_NOPULL;
  HAL_GPIO_Init(ARD_D6_GPIO_Port, &GPIO_InitStruct);

  /*Configure GPIO pins : ARD_D8_Pin ISM43362_BOOT0_Pin ISM43362_WAKEUP_Pin LED2_Pin
                           SPSGRF_915_SDN_Pin ARD_D5_Pin SPSGRF_915_SPI3_CSN_Pin */
  GPIO_InitStruct.Pin = ARD_D8_Pin|ISM43362_BOOT0_Pin|ISM43362_WAKEUP_Pin|LED2_Pin
                          |SPSGRF_915_SDN_Pin|ARD_D5_Pin|SPSGRF_915_SPI3_CSN_Pin;
  GPIO_InitStruct.Mode = GPIO_MODE_OUTPUT_PP;
  GPIO_InitStruct.Pull = GPIO_NOPULL;
  GPIO_InitStruct.Speed = GPIO_SPEED_FREQ_LOW;
  HAL_GPIO_Init(GPIOB, &GPIO_InitStruct);

  /*Configure GPIO pins : LPS22HB_INT_DRDY_EXTI0_Pin LSM6DSL_INT1_EXTI11_Pin ARD_D2_Pin HTS221_DRDY_EXTI15_Pin
                           PMOD_IRQ_EXTI12_Pin */
  GPIO_InitStruct.Pin = LPS22HB_INT_DRDY_EXTI0_Pin|LSM6DSL_INT1_EXTI11_Pin|ARD_D2_Pin|HTS221_DRDY_EXTI15_Pin
                          |PMOD_IRQ_EXTI12_Pin;
  GPIO_InitStruct.Mode = GPIO_MODE_IT_RISING;
  GPIO_InitStruct.Pull = GPIO_NOPULL;
  HAL_GPIO_Init(GPIOD, &GPIO_InitStruct);

  /*Configure GPIO pins : USB_OTG_FS_PWR_EN_Pin SPBTLE_RF_SPI3_CSN_Pin PMOD_RESET_Pin STSAFE_A100_RESET_Pin */
  GPIO_InitStruct.Pin = USB_OTG_FS_PWR_EN_Pin|SPBTLE_RF_SPI3_CSN_Pin|PMOD_RESET_Pin|STSAFE_A100_RESET_Pin;
  GPIO_InitStruct.Mode = GPIO_MODE_OUTPUT_PP;
  GPIO_InitStruct.Pull = GPIO_NOPULL;
  GPIO_InitStruct.Speed = GPIO_SPEED_FREQ_LOW;
  HAL_GPIO_Init(GPIOD, &GPIO_InitStruct);

  /*Configure GPIO pins : VL53L0X_GPIO1_EXTI7_Pin LSM3MDL_DRDY_EXTI8_Pin */
  GPIO_InitStruct.Pin = VL53L0X_GPIO1_EXTI7_Pin|LSM3MDL_DRDY_EXTI8_Pin;
  GPIO_InitStruct.Mode = GPIO_MODE_IT_RISING;
  GPIO_InitStruct.Pull = GPIO_NOPULL;
  HAL_GPIO_Init(GPIOC, &GPIO_InitStruct);

  /*Configure GPIO pin : PMOD_SPI2_SCK_Pin */
  GPIO_InitStruct.Pin = PMOD_SPI2_SCK_Pin;
  GPIO_InitStruct.Mode = GPIO_MODE_AF_PP;
  GPIO_InitStruct.Pull = GPIO_NOPULL;
  GPIO_InitStruct.Speed = GPIO_SPEED_FREQ_VERY_HIGH;
  GPIO_InitStruct.Alternate = GPIO_AF5_SPI2;
  HAL_GPIO_Init(PMOD_SPI2_SCK_GPIO_Port, &GPIO_InitStruct);

  /*Configure GPIO pins : PMOD_UART2_CTS_Pin PMOD_UART2_RTS_Pin PMOD_UART2_TX_Pin PMOD_UART2_RX_Pin */
  GPIO_InitStruct.Pin = PMOD_UART2_CTS_Pin|PMOD_UART2_RTS_Pin|PMOD_UART2_TX_Pin|PMOD_UART2_RX_Pin;
  GPIO_InitStruct.Mode = GPIO_MODE_AF_PP;
  GPIO_InitStruct.Pull = GPIO_NOPULL;
  GPIO_InitStruct.Speed = GPIO_SPEED_FREQ_VERY_HIGH;
  GPIO_InitStruct.Alternate = GPIO_AF7_USART2;
  HAL_GPIO_Init(GPIOD, &GPIO_InitStruct);

  /*Configure GPIO pins : ARD_D15_Pin ARD_D14_Pin */
  GPIO_InitStruct.Pin = ARD_D15_Pin|ARD_D14_Pin;
  GPIO_InitStruct.Mode = GPIO_MODE_AF_OD;
  GPIO_InitStruct.Pull = GPIO_NOPULL;
  GPIO_InitStruct.Speed = GPIO_SPEED_FREQ_VERY_HIGH;
  GPIO_InitStruct.Alternate = GPIO_AF4_I2C1;
  HAL_GPIO_Init(GPIOB, &GPIO_InitStruct);

  /* EXTI interrupt init*/
  HAL_NVIC_SetPriority(EXTI9_5_IRQn, 1, 0);
  HAL_NVIC_EnableIRQ(EXTI9_5_IRQn);

  HAL_NVIC_SetPriority(EXTI15_10_IRQn, 1, 0);
  HAL_NVIC_EnableIRQ(EXTI15_10_IRQn);

}

/* USER CODE BEGIN 4 */

void HAL_DFSDM_FilterRegConvHalfCpltCallback(DFSDM_Filter_HandleTypeDef *hdfsdm_filter){

	DmaRecHalfBuffCplt = 1;
}

void HAL_DFSDM_FilterRegConvCpltCallback(DFSDM_Filter_HandleTypeDef *hdfsdm_filter){

	DmaRecBuffCplt = 1;
}

/* USER CODE END 4 */

void StartDefaultTask(void *argument)
{
  /* USER CODE BEGIN 5 */
  /* Infinite loop */
  for(;;)
  {
	if(DmaRecHalfBuffCplt == 1){
		HAL_GPIO_TogglePin(GPIOC, GPIO_PIN_4);
//		HAL_GPIO_TogglePin(GPIOB, 14);
		DmaRecHalfBuffCplt = 0;
	}
//    osDelay(1);
  }
  /* USER CODE END 5 */
}

void StartTask02(void *argument)
{
  /* USER CODE BEGIN StartTask02 */
  /* Infinite loop */
  for(;;)
  {
	if(DmaRecBuffCplt == 1){
		HAL_GPIO_TogglePin(GPIOC, GPIO_PIN_5);
//		HAL_GPIO_TogglePin(GPIOC, 9);
		DmaRecBuffCplt = 0;
	}
//    osDelay(1);
  }
  /* USER CODE END StartTask02 */
}

void Error_Handler(void)
{
  __disable_irq();
  while (1)
  {
  }
}
